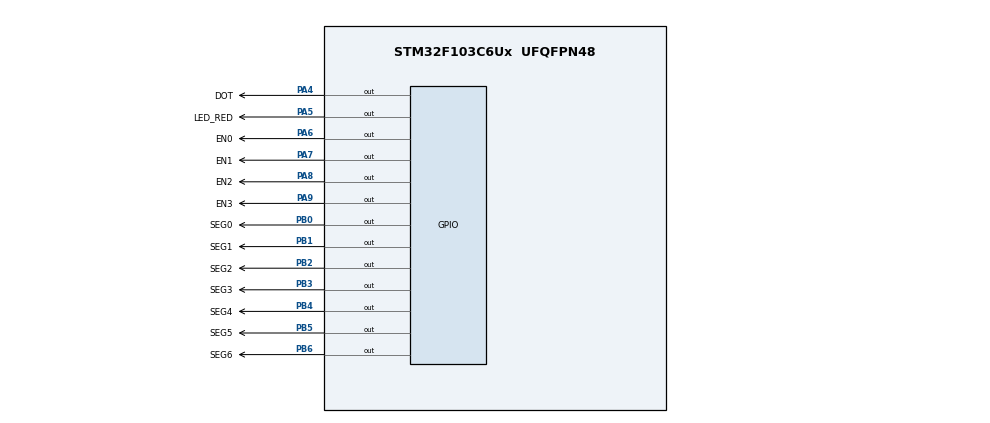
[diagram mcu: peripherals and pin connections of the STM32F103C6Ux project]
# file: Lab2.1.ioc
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Mcu.Family=STM32F1
Mcu.Name=STM32F103C6Ux
Mcu.Package=UFQFPN48
NVIC.PriorityGroup=NVIC_PRIORITYGROUP_4
NVIC.TIM2_IRQn=true\:0\:0\:false\:false\:true\:true\:true
PA4.GPIO_Label=DOT
PA4.Signal=GPIO_Output
PA5.GPIO_Label=LED_RED
PA5.Signal=GPIO_Output
PA6.GPIO_Label=EN0
PA6.Signal=GPIO_Output
PA7.GPIO_Label=EN1
PA7.Signal=GPIO_Output
PA8.GPIO_Label=EN2
PA8.Signal=GPIO_Output
PA9.GPIO_Label=EN3
PA9.Signal=GPIO_Output
PB0.GPIO_Label=SEG0
PB0.Signal=GPIO_Output
PB1.GPIO_Label=SEG1
PB1.Signal=GPIO_Output
PB2.GPIO_Label=SEG2
PB2.Signal=GPIO_Output
PB3.GPIO_Label=SEG3
PB3.Signal=GPIO_Output
PB4.GPIO_Label=SEG4
PB4.Signal=GPIO_Output
PB5.GPIO_Label=SEG5
PB5.Signal=GPIO_Output
PB6.GPIO_Label=SEG6
PB6.Signal=GPIO_Output
ProjectManager.HeapSize=0x200
ProjectManager.StackSize=0x400
ProjectManager.TargetToolchain=STM32CubeIDE
RCC.APB1Freq_Value=8000000
RCC.APB2Freq_Value=8000000
TIM2.Period=9
TIM2.Prescaler=7999
VP_SYS_VS_ND.Mode=No_Debug
VP_TIM2_VS_ClockSourceINT.Mode=Internal
board=custom

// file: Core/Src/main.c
/* USER CODE BEGIN Header */
/**
  ******************************************************************************
  * @file           : main.c
  * @brief          : Main program body
  ******************************************************************************
  * @attention
  *
  * <h2><center>&copy; Copyright (c) 2024 STMicroelectronics.
  * All rights reserved.</center></h2>
  *
  * This software component is licensed by ST under BSD 3-Clause license,
  * the "License"; You may not use this file except in compliance with the
  * License. You may obtain a copy of the License at:
  *                        opensource.org/licenses/BSD-3-Clause
  *
  ******************************************************************************
  */
/* USER CODE END Header */
#include "main.h"

TIM_HandleTypeDef htim2;

void SystemClock_Config(void);
static void MX_GPIO_Init(void);
static void MX_TIM2_Init(void);

/* USER CODE BEGIN 0 */
void reset7SEG()
{
	HAL_GPIO_WritePin ( SEG0_GPIO_Port, SEG0_Pin, GPIO_PIN_SET);
	HAL_GPIO_WritePin ( SEG1_GPIO_Port, SEG1_Pin, GPIO_PIN_SET);
	HAL_GPIO_WritePin ( SEG2_GPIO_Port, SEG2_Pin, GPIO_PIN_SET);
	HAL_GPIO_WritePin ( SEG3_GPIO_Port, SEG3_Pin, GPIO_PIN_SET);
	HAL_GPIO_WritePin ( SEG4_GPIO_Port, SEG4_Pin, GPIO_PIN_SET);
	HAL_GPIO_WritePin ( SEG5_GPIO_Port, SEG5_Pin, GPIO_PIN_SET);
	HAL_GPIO_WritePin ( SEG6_GPIO_Port, SEG6_Pin, GPIO_PIN_SET);
}

void display7SEG(int num)
{
	if (num == 1)
	{
		HAL_GPIO_TogglePin ( SEG1_GPIO_Port, SEG1_Pin);
		HAL_GPIO_TogglePin ( SEG2_GPIO_Port, SEG2_Pin);
	}
	if (num == 2)
	{
		HAL_GPIO_TogglePin ( SEG0_GPIO_Port, SEG0_Pin);
		HAL_GPIO_TogglePin ( SEG1_GPIO_Port, SEG1_Pin);
		HAL_GPIO_TogglePin ( SEG3_GPIO_Port, SEG3_Pin);
		HAL_GPIO_TogglePin ( SEG4_GPIO_Port, SEG4_Pin);
		HAL_GPIO_TogglePin ( SEG6_GPIO_Port, SEG6_Pin);
	}
	if (num == 3)
	{
		HAL_GPIO_TogglePin ( SEG0_GPIO_Port, SEG0_Pin);
		HAL_GPIO_TogglePin ( SEG1_GPIO_Port, SEG1_Pin);
		HAL_GPIO_TogglePin ( SEG2_GPIO_Port, SEG2_Pin);
		HAL_GPIO_TogglePin ( SEG3_GPIO_Port, SEG3_Pin);
		HAL_GPIO_TogglePin ( SEG6_GPIO_Port, SEG6_Pin);
	}
	if (num == 4)
	{
		HAL_GPIO_TogglePin ( SEG1_GPIO_Port, SEG1_Pin);
		HAL_GPIO_TogglePin ( SEG2_GPIO_Port, SEG2_Pin);
		HAL_GPIO_TogglePin ( SEG5_GPIO_Port, SEG5_Pin);
		HAL_GPIO_TogglePin ( SEG6_GPIO_Port, SEG6_Pin);
	}
	if (num == 5)
	{
		HAL_GPIO_TogglePin ( SEG0_GPIO_Port, SEG0_Pin);
		HAL_GPIO_TogglePin ( SEG2_GPIO_Port, SEG2_Pin);
		HAL_GPIO_TogglePin ( SEG5_GPIO_Port, SEG5_Pin);
		HAL_GPIO_TogglePin ( SEG6_GPIO_Port, SEG6_Pin);
		HAL_GPIO_TogglePin ( SEG3_GPIO_Port, SEG3_Pin);

	}
	if (num == 6)
	{
		HAL_GPIO_TogglePin ( SEG0_GPIO_Port, SEG0_Pin);
		HAL_GPIO_TogglePin ( SEG2_GPIO_Port, SEG2_Pin);
		HAL_GPIO_TogglePin ( SEG5_GPIO_Port, SEG5_Pin);
		HAL_GPIO_TogglePin ( SEG6_GPIO_Port, SEG6_Pin);
		HAL_GPIO_TogglePin ( SEG3_GPIO_Port, SEG3_Pin);
		HAL_GPIO_TogglePin ( SEG4_GPIO_Port, SEG4_Pin);
	}
	if (num == 7)
	{
		HAL_GPIO_TogglePin ( SEG0_GPIO_Port, SEG0_Pin);
		HAL_GPIO_TogglePin ( SEG1_GPIO_Port, SEG1_Pin);
		HAL_GPIO_TogglePin ( SEG2_GPIO_Port, SEG2_Pin);
	}
	if (num == 8)
	{
		HAL_GPIO_TogglePin ( SEG0_GPIO_Port, SEG0_Pin);
		HAL_GPIO_TogglePin ( SEG1_GPIO_Port, SEG1_Pin);
		HAL_GPIO_TogglePin ( SEG2_GPIO_Port, SEG2_Pin);
		HAL_GPIO_TogglePin ( SEG3_GPIO_Port, SEG3_Pin);
		HAL_GPIO_TogglePin ( SEG4_GPIO_Port, SEG4_Pin);
		HAL_GPIO_TogglePin ( SEG5_GPIO_Port, SEG5_Pin);
		HAL_GPIO_TogglePin ( SEG6_GPIO_Port, SEG6_Pin);

	}
	if (num == 9)
	{
		HAL_GPIO_TogglePin ( SEG0_GPIO_Port, SEG0_Pin);
		HAL_GPIO_TogglePin ( SEG1_GPIO_Port, SEG1_Pin);
		HAL_GPIO_TogglePin ( SEG2_GPIO_Port, SEG2_Pin);
		HAL_GPIO_TogglePin ( SEG3_GPIO_Port, SEG3_Pin);
		HAL_GPIO_TogglePin ( SEG4_GPIO_Port, SEG4_Pin);
		HAL_GPIO_TogglePin ( SEG6_GPIO_Port, SEG6_Pin);
	}
	if (num == 0)
	{
		HAL_GPIO_TogglePin ( SEG0_GPIO_Port, SEG0_Pin);
		HAL_GPIO_TogglePin ( SEG1_GPIO_Port, SEG1_Pin);
		HAL_GPIO_TogglePin ( SEG2_GPIO_Port, SEG2_Pin);
		HAL_GPIO_TogglePin ( SEG3_GPIO_Port, SEG3_Pin);
		HAL_GPIO_TogglePin ( SEG4_GPIO_Port, SEG4_Pin);
		HAL_GPIO_TogglePin ( SEG5_GPIO_Port, SEG5_Pin);
	}

}
// COUNTER == 100 == 1 SECOND
int counter = 50;
int displayState = 1;
void HAL_TIM_PeriodElapsedCallback(TIM_HandleTypeDef *htim) {
    counter--;
    if (counter <= 0) {
        counter = 50;
        if (displayState == 1)
        {
            HAL_GPIO_WritePin(EN0_GPIO_Port, EN0_Pin, GPIO_PIN_RESET);  // Disable first display (EN0)
            HAL_GPIO_WritePin(EN1_GPIO_Port, EN1_Pin, GPIO_PIN_SET);    // Enable second display (EN1)
            HAL_GPIO_WritePin(EN2_GPIO_Port, EN2_Pin, GPIO_PIN_SET);    // Enable second display (EN2)
            HAL_GPIO_WritePin(EN3_GPIO_Port, EN3_Pin, GPIO_PIN_SET);    // Enable second display (EN3)
            HAL_GPIO_TogglePin ( DOT_GPIO_Port, DOT_Pin);
            reset7SEG();
            display7SEG(1);  // Display "1" on the first seven-segment display
            displayState = 2;
        }
        else
        {
        	if (displayState == 2)
        	{
        		HAL_GPIO_WritePin(EN0_GPIO_Port, EN0_Pin, GPIO_PIN_SET);    // Enable first display (EN0)
        		HAL_GPIO_WritePin(EN1_GPIO_Port, EN1_Pin, GPIO_PIN_RESET);  // Disable second display (EN1)
        		HAL_GPIO_WritePin(EN2_GPIO_Port, EN2_Pin, GPIO_PIN_SET);    // Enable second display (EN2)
        		HAL_GPIO_WritePin(EN3_GPIO_Port, EN3_Pin, GPIO_PIN_SET);    // Enable second display (EN3)
        		reset7SEG();
        		display7SEG(2);  // Display "2" on the second seven-segment display
        		displayState = 3;
        	}
        	else
        	{
        		if (displayState == 3)
        		{
        			HAL_GPIO_WritePin(EN0_GPIO_Port, EN0_Pin, GPIO_PIN_SET);    // Enable first display (EN0)
        			HAL_GPIO_WritePin(EN1_GPIO_Port, EN1_Pin, GPIO_PIN_SET);  	// Enable second display (EN1)
        			HAL_GPIO_WritePin(EN2_GPIO_Port, EN2_Pin, GPIO_PIN_RESET);  // Disable second display (EN2)
        			HAL_GPIO_WritePin(EN3_GPIO_Port, EN3_Pin, GPIO_PIN_SET);    // Enable second display (EN3)
        			HAL_GPIO_TogglePin ( DOT_GPIO_Port, DOT_Pin);
        			reset7SEG();
        			display7SEG(3);  // Display "3" on the third seven-segment display
        			displayState = 0;
        		}
        		else
        		{
        			if (displayState == 0)
        			{
        			   HAL_GPIO_WritePin(EN0_GPIO_Port, EN0_Pin, GPIO_PIN_SET);    // Enable first display (EN0)
        			   HAL_GPIO_WritePin(EN1_GPIO_Port, EN1_Pin, GPIO_PIN_SET);    // Enable second display (EN1)
        			   HAL_GPIO_WritePin(EN2_GPIO_Port, EN2_Pin, GPIO_PIN_SET);    // Enable second display (EN2)
        			   HAL_GPIO_WritePin(EN3_GPIO_Port, EN3_Pin, GPIO_PIN_RESET);  // Disable second display (EN3)
        			   reset7SEG();
        			   display7SEG(0);  // Display "0" on the last seven-segment display
        			   displayState = 1;
        			}
        		}
        	}
        }
    }
}

/* USER CODE END 0 */

int main(void)
{

  /* MCU Configuration--------------------------------------------------------*/

  /* Reset of all peripherals, Initializes the Flash interface and the Systick. */
  HAL_Init();

  /* Configure the system clock */
  SystemClock_Config();

  /* Initialize all configured peripherals */
  MX_GPIO_Init();
  MX_TIM2_Init();
  /* USER CODE BEGIN 2 */
	HAL_TIM_Base_Start_IT (& htim2 ) ;
  /* USER CODE END 2 */

  /* Infinite loop */
  while (1)
  {

  }
}

void SystemClock_Config(void)
{
  RCC_OscInitTypeDef RCC_OscInitStruct = {0};
  RCC_ClkInitTypeDef RCC_ClkInitStruct = {0};

  /** Initializes the RCC Oscillators according to the specified parameters
  * in the RCC_OscInitTypeDef structure.
  */
  RCC_OscInitStruct.OscillatorType = RCC_OSCILLATORTYPE_HSI;
  RCC_OscInitStruct.HSIState = RCC_HSI_ON;
  RCC_OscInitStruct.HSICalibrationValue = RCC_HSICALIBRATION_DEFAULT;
  RCC_OscInitStruct.PLL.PLLState = RCC_PLL_NONE;
  if (HAL_RCC_OscConfig(&RCC_OscInitStruct) != HAL_OK)
  {
    Error_Handler();
  }
  /** Initializes the CPU, AHB and APB buses clocks
  */
  RCC_ClkInitStruct.ClockType = RCC_CLOCKTYPE_HCLK|RCC_CLOCKTYPE_SYSCLK
                              |RCC_CLOCKTYPE_PCLK1|RCC_CLOCKTYPE_PCLK2;
  RCC_ClkInitStruct.SYSCLKSource = RCC_SYSCLKSOURCE_HSI;
  RCC_ClkInitStruct.AHBCLKDivider = RCC_SYSCLK_DIV1;
  RCC_ClkInitStruct.APB1CLKDivider = RCC_HCLK_DIV1;
  RCC_ClkInitStruct.APB2CLKDivider = RCC_HCLK_DIV1;

  if (HAL_RCC_ClockConfig(&RCC_ClkInitStruct, FLASH_LATENCY_0) != HAL_OK)
  {
    Error_Handler();
  }
}

static void MX_TIM2_Init(void)
{

  TIM_ClockConfigTypeDef sClockSourceConfig = {0};
  TIM_MasterConfigTypeDef sMasterConfig = {0};

  htim2.Instance = TIM2;
  htim2.Init.Prescaler = 7999;
  htim2.Init.CounterMode = TIM_COUNTERMODE_UP;
  htim2.Init.Period = 9;
  htim2.Init.ClockDivision = TIM_CLOCKDIVISION_DIV1;
  htim2.Init.AutoReloadPreload = TIM_AUTORELOAD_PRELOAD_DISABLE;
  if (HAL_TIM_Base_Init(&htim2) != HAL_OK)
  {
    Error_Handler();
  }
  sClockSourceConfig.ClockSource = TIM_CLOCKSOURCE_INTERNAL;
  if (HAL_TIM_ConfigClockSource(&htim2, &sClockSourceConfig) != HAL_OK)
  {
    Error_Handler();
  }
  sMasterConfig.MasterOutputTrigger = TIM_TRGO_RESET;
  sMasterConfig.MasterSlaveMode = TIM_MASTERSLAVEMODE_DISABLE;
  if (HAL_TIMEx_MasterConfigSynchronization(&htim2, &sMasterConfig) != HAL_OK)
  {
    Error_Handler();
  }

}

static void MX_GPIO_Init(void)
{
  GPIO_InitTypeDef GPIO_InitStruct = {0};

  /* GPIO Ports Clock Enable */
  __HAL_RCC_GPIOA_CLK_ENABLE();
  __HAL_RCC_GPIOB_CLK_ENABLE();

  /*Configure GPIO pin Output Level */
  HAL_GPIO_WritePin(GPIOA, DOT_Pin|LED_RED_Pin|EN0_Pin|EN1_Pin
                          |EN2_Pin|EN3_Pin, GPIO_PIN_RESET);

  /*Configure GPIO pin Output Level */
  HAL_GPIO_WritePin(GPIOB, SEG0_Pin|SEG1_Pin|SEG2_Pin|SEG3_Pin
                          |SEG4_Pin|SEG5_Pin|SEG6_Pin, GPIO_PIN_RESET);

  /*Configure GPIO pins : DOT_Pin LED_RED_Pin EN0_Pin EN1_Pin
                           EN2_Pin EN3_Pin */
  GPIO_InitStruct.Pin = DOT_Pin|LED_RED_Pin|EN0_Pin|EN1_Pin
                          |EN2_Pin|EN3_Pin;
  GPIO_InitStruct.Mode = GPIO_MODE_OUTPUT_PP;
  GPIO_InitStruct.Pull = GPIO_NOPULL;
  GPIO_InitStruct.Speed = GPIO_SPEED_FREQ_LOW;
  HAL_GPIO_Init(GPIOA, &GPIO_InitStruct);

  /*Configure GPIO pins : SEG0_Pin SEG1_Pin SEG2_Pin SEG3_Pin
                           SEG4_Pin SEG5_Pin SEG6_Pin */
  GPIO_InitStruct.Pin = SEG0_Pin|SEG1_Pin|SEG2_Pin|SEG3_Pin
                          |SEG4_Pin|SEG5_Pin|SEG6_Pin;
  GPIO_InitStruct.Mode = GPIO_MODE_OUTPUT_PP;
  GPIO_InitStruct.Pull = GPIO_NOPULL;
  GPIO_InitStruct.Speed = GPIO_SPEED_FREQ_LOW;
  HAL_GPIO_Init(GPIOB, &GPIO_InitStruct);

}

void Error_Handler(void)
{
  __disable_irq();
  while (1)
  {
  }
}

/************************ (C) COPYRIGHT STMicroelectronics *****END OF FILE****/
